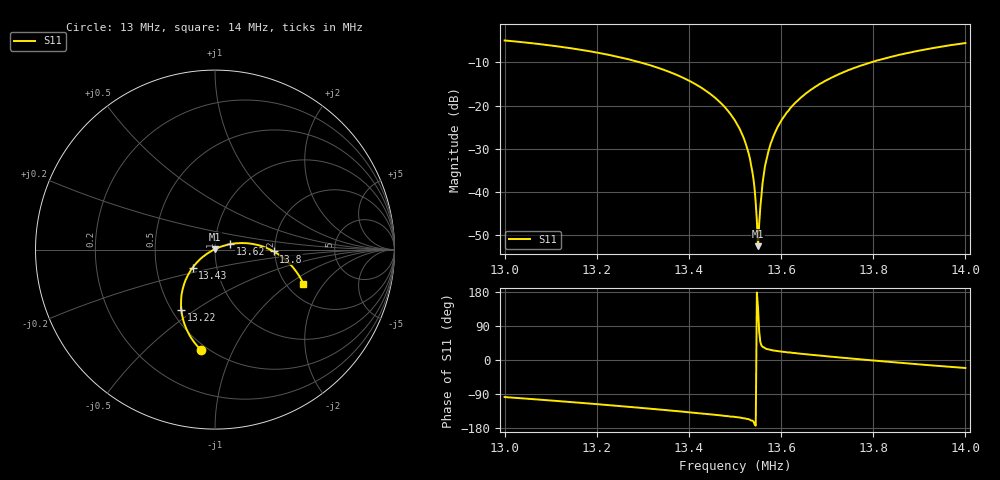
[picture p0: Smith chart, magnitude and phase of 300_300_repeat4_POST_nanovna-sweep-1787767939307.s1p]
! S11 from 300_300_repeat4_POST_nanovna-sweep-1787767939307.csv, converted by the rf-network-modeller history importer
# HZ S RI R 50
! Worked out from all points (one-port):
!   401 points, 13 MHz to 14 MHz, reference 50 ohm
!   lowest |S11| = -52.5 dB at 13.55 MHz (marker M1), VSWR 1.00, Z = 49.8 + j0.161 ohm
!   |S11| at or under -10 dB: 13.29 MHz to 13.8 MHz (501.7 kHz wide, 3.7 % of centre)
!   S11 on the Smith chart (normalised r, x): 13 MHz: 0.46, -0.76; 13.22 MHz: 0.56, -0.44; 13.43 MHz: 0.76, -0.16; 13.62 MHz: 1.18, +0.07; 13.8 MHz: 1.97, -0.05; 14 MHz: 2.46, -1.29
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1.3e7  -0.0765 -0.5607
1.3125e7  -0.1562 -0.449
1.3225e7  -0.1877 -0.3382
1.325e7  -0.1895 -0.3086
1.3375e7  -0.1588 -0.1587
1.34275e7  -0.125 -0.1003
1.347e7  -0.0882 -0.0589
1.35e7  -0.0583 -0.0331
1.35175e7  -0.0393 -0.0197
1.353e7  -0.0252 -0.011
1.35375e7  -0.0163 -0.00593
1.35425e7  -0.0108 -0.00196
1.3545e7  -0.00742 -0.000865
1.35475e7  -0.00459 0.000165
1.355e7  -0.00173 0.00161
1.35525e7  0.00115 0.00418
1.3555e7  0.00457 0.00491
1.356e7  0.0106 0.00737
1.3565e7  0.0169 0.0104
1.3575e7  0.0293 0.0151
1.35925e7  0.0518 0.0226
1.36175e7  0.0841 0.0302
1.3625e7  0.0941 0.032
1.368e7  0.168 0.0359
1.375e7  0.2601 0.0191
1.3805e7  0.3268 -0.0102
1.3875e7  0.4006 -0.0638
1.4e7  0.4927 -0.1899
